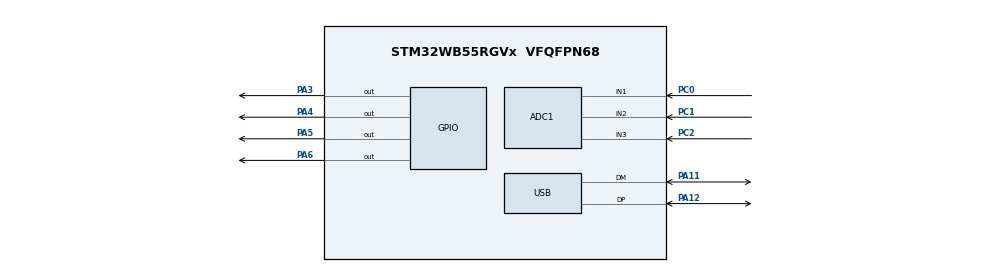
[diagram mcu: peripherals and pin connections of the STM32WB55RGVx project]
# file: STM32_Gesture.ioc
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ADC1.Channel-6\#ChannelRegularConversion=ADC_CHANNEL_1
ADC1.Channel-7\#ChannelRegularConversion=ADC_CHANNEL_2
ADC1.Channel-8\#ChannelRegularConversion=ADC_CHANNEL_3
ADC1.ContinuousConvMode=DISABLE
ADC1.DMAContinuousRequests=ENABLE
ADC1.DiscontinuousConvMode=DISABLE
ADC1.EOCSelection=ADC_EOC_SEQ_CONV
ADC1.EnableRegularConversion=ENABLE
ADC1.ExternalTrigConv=ADC_EXTERNALTRIG_T1_CC1
ADC1.LowPowerAutoWait=DISABLE
ADC1.NbrOfConversion=3
ADC1.NbrOfConversionFlag=1
ADC1.OffsetNumber-6\#ChannelRegularConversion=ADC_OFFSET_NONE
ADC1.OffsetNumber-7\#ChannelRegularConversion=ADC_OFFSET_NONE
ADC1.OffsetNumber-8\#ChannelRegularConversion=ADC_OFFSET_NONE
ADC1.Overrun=ADC_OVR_DATA_OVERWRITTEN
ADC1.Rank-6\#ChannelRegularConversion=1
ADC1.Rank-7\#ChannelRegularConversion=2
ADC1.Rank-8\#ChannelRegularConversion=3
ADC1.SamplingTime-6\#ChannelRegularConversion=ADC_SAMPLETIME_247CYCLES_5
ADC1.SamplingTime-7\#ChannelRegularConversion=ADC_SAMPLETIME_247CYCLES_5
ADC1.SamplingTime-8\#ChannelRegularConversion=ADC_SAMPLETIME_247CYCLES_5
ADC1.master=1
Dma.ADC1.0.Direction=DMA_PERIPH_TO_MEMORY
Dma.ADC1.0.EventEnable=DISABLE
Dma.ADC1.0.Instance=DMA1_Channel1
Dma.ADC1.0.MemDataAlignment=DMA_MDATAALIGN_HALFWORD
Dma.ADC1.0.MemInc=DMA_MINC_ENABLE
Dma.ADC1.0.Mode=DMA_CIRCULAR
Dma.ADC1.0.PeriphDataAlignment=DMA_PDATAALIGN_HALFWORD
Dma.ADC1.0.PeriphInc=DMA_PINC_DISABLE
Dma.ADC1.0.Polarity=HAL_DMAMUX_REQ_GEN_RISING
Dma.ADC1.0.Priority=DMA_PRIORITY_LOW
Dma.ADC1.0.RequestNumber=1
Dma.ADC1.0.SignalID=NONE
Dma.ADC1.0.SyncEnable=DISABLE
Dma.ADC1.0.SyncPolarity=HAL_DMAMUX_SYNC_NO_EVENT
Dma.ADC1.0.SyncRequestNumber=1
Dma.ADC1.0.SyncSignalID=NONE
Dma.Request0=ADC1
Mcu.Family=STM32WB
Mcu.Name=STM32WB55RGVx
Mcu.Package=VFQFPN68
NVIC.DMA1_Channel1_IRQn=true\:0\:0\:false\:false\:true\:false\:true\:true
NVIC.HSEM_IRQn=true\:0\:0\:false\:false\:true\:false\:true\:true
NVIC.IPCC_C1_RX_IRQn=true\:0\:0\:false\:false\:true\:true\:true\:true
NVIC.IPCC_C1_TX_IRQn=true\:0\:0\:false\:false\:true\:true\:true\:true
NVIC.PriorityGroup=NVIC_PRIORITYGROUP_4
NVIC.RTC_WKUP_IRQn=true\:0\:0\:false\:false\:true\:true\:true\:true
NVIC.TIM1_TRG_COM_TIM17_IRQn=true\:15\:0\:false\:false\:true\:false\:true\:true
NVIC.TimeBase=TIM1_TRG_COM_TIM17_IRQn
NVIC.TimeBaseIP=TIM17
NVIC.USB_LP_IRQn=true\:0\:0\:false\:false\:true\:false\:true\:true
OSC_IN.Mode=HSE-External-Oscillator
OSC_IN.Signal=RCC_OSC_IN
OSC_OUT.Mode=HSE-External-Oscillator
OSC_OUT.Signal=RCC_OSC_OUT
PA11.Mode=Device
PA11.Signal=USB_DM
PA12.Mode=Device
PA12.Signal=USB_DP
PA13.Mode=Trace_Asynchronous_SW
PA13.Signal=SYS_JTMS-SWDIO
PA14.Mode=Trace_Asynchronous_SW
PA14.Signal=SYS_JTCK-SWCLK
PA3.Signal=GPIO_Output
PA4.Signal=GPIO_Output
PA5.Signal=GPIO_Output
PA6.Signal=GPIO_Output
PB3.Mode=Trace_Asynchronous_SW
PB3.Signal=SYS_JTDO-SWO
PC0.Signal=ADCx_IN1
PC1.Signal=ADCx_IN2
PC14-OSC32_IN.Mode=LSE-External-Oscillator
PC14-OSC32_IN.Signal=RCC_OSC32_IN
PC15-OSC32_OUT.Mode=LSE-External-Oscillator
PC15-OSC32_OUT.Signal=RCC_OSC32_OUT
PC2.Signal=ADCx_IN3
ProjectManager.HeapSize=0x1000
ProjectManager.StackSize=0x1000
ProjectManager.TargetToolchain=STM32CubeIDE
RCC.ADCFreq_Value=48000000
RCC.AHBFreq_Value=32000000
RCC.APB1Freq_Value=32000000
RCC.APB1TimFreq_Value=32000000
RCC.APB2Freq_Value=32000000
RCC.APB2TimFreq_Value=32000000
RCC.APB3Freq_Value=16000000
RCC.CortexFreq_Value=32000000
RCC.HCLKFreq_Value=32000000
RCC.HSE_VALUE=32000000
RCC.HSI48_VALUE=48000000
RCC.HSI_VALUE=16000000
RCC.MSIClockRange=RCC_MSIRANGE_10
RCC.PLLM=RCC_PLLM_DIV2
RCC.PLLSAI1N=6
RCC.RFWKPClockSelection=RCC_RFWKPCLKSOURCE_LSE
RCC.SYSCLKFreq_VALUE=32000000
RCC.USBFreq_Value=48000000
RCC.VCOOutputFreq_Value=128000000
RF1.Mode=RF1_Activate
RF1.Signal=RF_RF1
SH.ADCx_IN1.0=ADC1_IN1,IN1-Single-Ended
SH.ADCx_IN2.0=ADC1_IN2,IN2-Single-Ended
SH.ADCx_IN3.0=ADC1_IN3,IN3-Single-Ended
STM32_WPAN.AD_TYPE_COMPLETE_LOCAL_NAME=STMGESTURE
STM32_WPAN.AD_TYPE_COMPLETE_LOCAL_NAME_LENGTH=11
STM32_WPAN.BT_SIG_HEART_RATE_SENSOR=Disabled
STM32_WPAN.CFG_GAP_DEVICE_NAME=STMGESTURE
STM32_WPAN.CFG_GAP_DEVICE_NAME_LENGTH=10
STM32_WPAN.CFG_IO_CAPABILITY=\ CFG_IO_CAPABILITY_NO_INPUT_NO_OUTPUT
STM32_WPAN.CFG_LSCLK_LSE=0
STM32_WPAN.CFG_TX_POWER=(0x1D) /* 4dBm */
STM32_WPAN.CFG_USE_SMPS=1
STM32_WPAN.CUSTOM_P2P_SERVER=Disabled
STM32_WPAN.CUSTOM_TEMPLATE=Enabled
STM32_WPAN.GAP_PERIPHERAL_ROLE=1
STM32_WPAN.INCLUDE_AD_TYPE_COMPLETE_LOCAL_NAME=1
STM32_WPAN.NUMBER_OF_SERVICES=1
STM32_WPAN.SERVICE1_CHAR1_LONG_NAME=CurrentGesture
STM32_WPAN.SERVICE1_CHAR1_PROP_NOTIFY=CHAR_PROP_NOTIFY
STM32_WPAN.SERVICE1_CHAR1_SHORT_NAME=GST
STM32_WPAN.SERVICE1_CHAR1_VALUE_LENGTH=2
STM32_WPAN.SERVICE1_CHAR2_LONG_NAME=Battery
STM32_WPAN.SERVICE1_CHAR2_PROP_READ=CHAR_PROP_READ
STM32_WPAN.SERVICE1_CHAR2_SHORT_NAME=BAT
STM32_WPAN.SERVICE1_CHAR2_VALUE_LENGTH=2
STM32_WPAN.SERVICE1_LONG_NAME=GestureAndBatteryService
STM32_WPAN.SERVICE1_NUMBER_OF_CHARACTERISTICS=2
STM32_WPAN.SERVICE1_SHORT_NAME=SRVC1
TIM1.AutoReloadPreload=TIM_AUTORELOAD_PRELOAD_ENABLE
TIM1.Channel-PWM\ Generation1\ No\ Output=TIM_CHANNEL_1
TIM1.Period=499
TIM1.Prescaler=31
TIM1.Pulse-PWM\ Generation1\ No\ Output=250
USB_DEVICE.CLASS_NAME_FS=CDC
USB_DEVICE.VirtualMode=Cdc
USB_DEVICE.VirtualModeFS=Cdc_FS
VP_HSEM_VS_HSEM.Mode=HSEM_Activate
VP_IPCC_VS_IPCC.Mode=IPCC_Activate
VP_MEMORYMAP_VS_MEMORYMAP.Mode=CurAppReg
VP_RTC_VS_RTC_Activate.Mode=RTC_Enabled
VP_RTC_VS_RTC_WakeUp_intern.Mode=WakeUp
VP_SEQUENCER_VS_SEQUENCER.Mode=SEQUENCER_Enabled
VP_STM32_WPAN_VS_BLE_HOST.Mode=STM32_WPAN_Enabled
VP_SYS_VS_tim17.Mode=TIM17
VP_TIM1_VS_ClockSourceINT.Mode=Internal
VP_TIM1_VS_no_output1.Mode=PWM Generation1 No Output
VP_TINY_LPM_VS_TINY_LPM.Mode=TINY_LPM_Enabled
VP_USB_DEVICE_VS_USB_DEVICE_CDC_FS.Mode=CDC_FS
board=custom

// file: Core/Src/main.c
/* USER CODE BEGIN Header */
/**
  ******************************************************************************
  * @file           : main.c
  * @brief          : Main program body for EMG Gesture Recognition & BLE Node
  ******************************************************************************
  * @attention
  *
  * Copyright (c) 2026 STMicroelectronics.
  * All rights reserved.
  *
  * This software is licensed under terms that can be found in the LICENSE file
  * in the root directory of this software component.
  * If no LICENSE file comes with this software, it is provided AS-IS.
  *
  ******************************************************************************
  */
/* USER CODE END Header */

#include "main.h"
#include "usb_device.h"
#include "FreeRTOS.h"
#include "task.h"
#include "queue.h"
#include <stdio.h>

/* USER CODE BEGIN PTD */

typedef struct {
    uint16_t Electrode1_Power;
    uint16_t Electrode2_Power;
    uint16_t Battery;
} Data_t;

/* USER CODE END PTD */

/* USER CODE BEGIN PD */

#define THRESHOLD            250
#define IDLE                 30
#define DOUBLE_FLEXTIMEOUT   400
#define RMS_WINDOW           200
#define BUFFER_SIZE          120

/* USER CODE END PD */

ADC_HandleTypeDef hadc1;

DMA_HandleTypeDef hdma_adc1;

IPCC_HandleTypeDef hipcc;

RTC_HandleTypeDef hrtc;

TIM_HandleTypeDef htim1;

/* USER CODE BEGIN PV */

Data_t data;
uint16_t adc_buffer[BUFFER_SIZE];
TaskHandle_t SignalTaskHandle;
TaskHandle_t GestureHandle;

/* USER CODE END PV */

void SystemClock_Config(void);
void PeriphCommonClock_Config(void);
static void MX_GPIO_Init(void);
static void MX_DMA_Init(void);
static void MX_ADC1_Init(void);
static void MX_IPCC_Init(void);
static void MX_RTC_Init(void);
static void MX_TIM1_Init(void);
static void MX_RF_Init(void);
/* USER CODE BEGIN PFP */

void vSignalTask(void *pvParameters);
void vGestureTask(void *pvParameters);

extern void Send_Gesture_To_BLE(uint8_t gesture);
extern void Send_Battery_To_BLE(uint8_t battery_level);

/* USER CODE END PFP */

/* USER CODE BEGIN 0 */

// =========================================================================
// DMA INTERRUPT CALLBACK
// =========================================================================

void HAL_ADC_ConvCpltCallback(ADC_HandleTypeDef* hadc) {
    BaseType_t xHigherPriorityTaskWoken = pdFALSE;
    vTaskNotifyGiveFromISR(SignalTaskHandle, &xHigherPriorityTaskWoken);
    portYIELD_FROM_ISR(xHigherPriorityTaskWoken);
}

/* USER CODE END 0 */

int main(void)
{

  /* MCU Configuration--------------------------------------------------------*/

  HAL_Init();
  MX_APPE_Config();

  /* Configure the system clock */
  SystemClock_Config();

  /* Configure the peripherals common clocks */
  PeriphCommonClock_Config();

  /* IPCC initialisation */
  MX_IPCC_Init();

  /* Initialize all configured peripherals */
  MX_GPIO_Init();
  MX_DMA_Init();
  MX_ADC1_Init();
  MX_RTC_Init();
  MX_TIM1_Init();
  MX_USB_Device_Init();
  MX_RF_Init();

  /* USER CODE BEGIN 2 */

  HAL_ADC_Start_DMA(&hadc1, (uint32_t*)adc_buffer, BUFFER_SIZE);
  xTaskCreate(vSignalTask, "SignalTask", 256, NULL, 3, &SignalTaskHandle);
  xTaskCreate(vGestureTask, "GestureTask", 256, NULL, 2, &GestureHandle);

  vTaskStartScheduler();

  /* USER CODE END 2 */

  /* Init code for STM32_WPAN */
  MX_APPE_Init();

  /* Infinite loop */
  while (1)
  {
    MX_APPE_Process();

  }
}

void SystemClock_Config(void)
{
  RCC_OscInitTypeDef RCC_OscInitStruct = {0};
  RCC_ClkInitTypeDef RCC_ClkInitStruct = {0};

  /** Macro to configure the PLL multiplication factor
  */
  __HAL_RCC_PLL_PLLM_CONFIG(RCC_PLLM_DIV2);

  /** Macro to configure the PLL clock source
  */
  __HAL_RCC_PLL_PLLSOURCE_CONFIG(RCC_PLLSOURCE_MSI);

  /** Configure LSE Drive Capability
  */
  HAL_PWR_EnableBkUpAccess();
  __HAL_RCC_LSEDRIVE_CONFIG(RCC_LSEDRIVE_MEDIUMHIGH);

  /** Configure the main internal regulator output voltage
  */
  __HAL_PWR_VOLTAGESCALING_CONFIG(PWR_REGULATOR_VOLTAGE_SCALE1);

  /** Initializes the RCC Oscillators according to the specified parameters
  * in the RCC_OscInitTypeDef structure.
  */
  RCC_OscInitStruct.OscillatorType = RCC_OSCILLATORTYPE_HSI|RCC_OSCILLATORTYPE_LSI1
                              |RCC_OSCILLATORTYPE_HSE|RCC_OSCILLATORTYPE_LSE
                              |RCC_OSCILLATORTYPE_MSI;
  RCC_OscInitStruct.HSEState = RCC_HSE_ON;
  RCC_OscInitStruct.LSEState = RCC_LSE_ON;
  RCC_OscInitStruct.HSIState = RCC_HSI_ON;
  RCC_OscInitStruct.MSIState = RCC_MSI_ON;
  RCC_OscInitStruct.HSICalibrationValue = RCC_HSICALIBRATION_DEFAULT;
  RCC_OscInitStruct.MSICalibrationValue = RCC_MSICALIBRATION_DEFAULT;
  RCC_OscInitStruct.MSIClockRange = RCC_MSIRANGE_10;
  RCC_OscInitStruct.LSIState = RCC_LSI_ON;
  RCC_OscInitStruct.PLL.PLLState = RCC_PLL_NONE;
  if (HAL_RCC_OscConfig(&RCC_OscInitStruct) != HAL_OK)
  {
    Error_Handler();
  }

  /** Configure the SYSCLKSource, HCLK, PCLK1 and PCLK2 clocks dividers
  */
  RCC_ClkInitStruct.ClockType = RCC_CLOCKTYPE_HCLK4|RCC_CLOCKTYPE_HCLK2
                              |RCC_CLOCKTYPE_HCLK|RCC_CLOCKTYPE_SYSCLK
                              |RCC_CLOCKTYPE_PCLK1|RCC_CLOCKTYPE_PCLK2;
  RCC_ClkInitStruct.SYSCLKSource = RCC_SYSCLKSOURCE_MSI;
  RCC_ClkInitStruct.AHBCLKDivider = RCC_SYSCLK_DIV1;
  RCC_ClkInitStruct.APB1CLKDivider = RCC_HCLK_DIV1;
  RCC_ClkInitStruct.APB2CLKDivider = RCC_HCLK_DIV1;
  RCC_ClkInitStruct.AHBCLK2Divider = RCC_SYSCLK_DIV1;
  RCC_ClkInitStruct.AHBCLK4Divider = RCC_SYSCLK_DIV1;

  if (HAL_RCC_ClockConfig(&RCC_ClkInitStruct, FLASH_LATENCY_1) != HAL_OK)
  {
    Error_Handler();
  }

  /** Enable MSI Auto calibration
  */
  HAL_RCCEx_EnableMSIPLLMode();
}

void PeriphCommonClock_Config(void)
{
  RCC_PeriphCLKInitTypeDef PeriphClkInitStruct = {0};

  /** Initializes the peripherals clock
  */
  PeriphClkInitStruct.PeriphClockSelection = RCC_PERIPHCLK_SMPS|RCC_PERIPHCLK_RFWAKEUP
                              |RCC_PERIPHCLK_USB|RCC_PERIPHCLK_ADC;
  PeriphClkInitStruct.PLLSAI1.PLLN = 6;
  PeriphClkInitStruct.PLLSAI1.PLLP = RCC_PLLP_DIV2;
  PeriphClkInitStruct.PLLSAI1.PLLQ = RCC_PLLQ_DIV2;
  PeriphClkInitStruct.PLLSAI1.PLLR = RCC_PLLR_DIV2;
  PeriphClkInitStruct.PLLSAI1.PLLSAI1ClockOut = RCC_PLLSAI1_USBCLK|RCC_PLLSAI1_ADCCLK;
  PeriphClkInitStruct.UsbClockSelection = RCC_USBCLKSOURCE_PLLSAI1;
  PeriphClkInitStruct.AdcClockSelection = RCC_ADCCLKSOURCE_PLLSAI1;
  PeriphClkInitStruct.RFWakeUpClockSelection = RCC_RFWKPCLKSOURCE_LSE;
  PeriphClkInitStruct.SmpsClockSelection = RCC_SMPSCLKSOURCE_HSI;
  PeriphClkInitStruct.SmpsDivSelection = RCC_SMPSCLKDIV_RANGE1;

  if (HAL_RCCEx_PeriphCLKConfig(&PeriphClkInitStruct) != HAL_OK)
  {
    Error_Handler();
  }
}

static void MX_ADC1_Init(void)
{
  ADC_ChannelConfTypeDef sConfig = {0};

  hadc1.Instance = ADC1;
  hadc1.Init.ClockPrescaler = ADC_CLOCK_ASYNC_DIV1;
  hadc1.Init.Resolution = ADC_RESOLUTION_12B;
  hadc1.Init.DataAlign = ADC_DATAALIGN_RIGHT;
  hadc1.Init.ScanConvMode = ADC_SCAN_ENABLE;
  hadc1.Init.EOCSelection = ADC_EOC_SEQ_CONV;
  hadc1.Init.LowPowerAutoWait = DISABLE;
  hadc1.Init.ContinuousConvMode = DISABLE;
  hadc1.Init.NbrOfConversion = 3;
  hadc1.Init.DiscontinuousConvMode = DISABLE;
  hadc1.Init.ExternalTrigConv = ADC_EXTERNALTRIG_T1_CC1;
  hadc1.Init.ExternalTrigConvEdge = ADC_EXTERNALTRIGCONVEDGE_RISING;
  hadc1.Init.DMAContinuousRequests = ENABLE;
  hadc1.Init.Overrun = ADC_OVR_DATA_OVERWRITTEN;
  hadc1.Init.OversamplingMode = DISABLE;
  if (HAL_ADC_Init(&hadc1) != HAL_OK)
  {
    Error_Handler();
  }

  sConfig.Channel = ADC_CHANNEL_1;
  sConfig.Rank = ADC_REGULAR_RANK_1;
  sConfig.SamplingTime = ADC_SAMPLETIME_247CYCLES_5;
  sConfig.SingleDiff = ADC_SINGLE_ENDED;
  sConfig.OffsetNumber = ADC_OFFSET_NONE;
  sConfig.Offset = 0;
  if (HAL_ADC_ConfigChannel(&hadc1, &sConfig) != HAL_OK)
  {
    Error_Handler();
  }

  sConfig.Channel = ADC_CHANNEL_2;
  sConfig.Rank = ADC_REGULAR_RANK_2;
  if (HAL_ADC_ConfigChannel(&hadc1, &sConfig) != HAL_OK)
  {
    Error_Handler();
  }

  sConfig.Channel = ADC_CHANNEL_3;
  sConfig.Rank = ADC_REGULAR_RANK_3;
  if (HAL_ADC_ConfigChannel(&hadc1, &sConfig) != HAL_OK)
  {
    Error_Handler();
  }
}

static void MX_IPCC_Init(void)
{
  hipcc.Instance = IPCC;
  if (HAL_IPCC_Init(&hipcc) != HAL_OK)
  {
    Error_Handler();
  }
}

static void MX_RF_Init(void)
{
}

static void MX_RTC_Init(void)
{
  hrtc.Instance = RTC;
  hrtc.Init.HourFormat = RTC_HOURFORMAT_24;
  hrtc.Init.AsynchPrediv = CFG_RTC_ASYNCH_PRESCALER;
  hrtc.Init.SynchPrediv = CFG_RTC_SYNCH_PRESCALER;
  hrtc.Init.OutPut = RTC_OUTPUT_DISABLE;
  hrtc.Init.OutPutPolarity = RTC_OUTPUT_POLARITY_HIGH;
  hrtc.Init.OutPutType = RTC_OUTPUT_TYPE_OPENDRAIN;
  hrtc.Init.OutPutRemap = RTC_OUTPUT_REMAP_NONE;
  if (HAL_RTC_Init(&hrtc) != HAL_OK)
  {
    Error_Handler();
  }

  if (HAL_RTCEx_SetWakeUpTimer_IT(&hrtc, 0, RTC_WAKEUPCLOCK_RTCCLK_DIV16) != HAL_OK)
  {
    Error_Handler();
  }
}

static void MX_TIM1_Init(void)
{
  TIM_ClockConfigTypeDef sClockSourceConfig = {0};
  TIM_MasterConfigTypeDef sMasterConfig = {0};
  TIM_OC_InitTypeDef sConfigOC = {0};
  TIM_BreakDeadTimeConfigTypeDef sBreakDeadTimeConfig = {0};

  htim1.Instance = TIM1;
  htim1.Init.Prescaler = 31;
  htim1.Init.CounterMode = TIM_COUNTERMODE_UP;
  htim1.Init.Period = 499;
  htim1.Init.ClockDivision = TIM_CLOCKDIVISION_DIV1;
  htim1.Init.RepetitionCounter = 0;
  htim1.Init.AutoReloadPreload = TIM_AUTORELOAD_PRELOAD_ENABLE;
  if (HAL_TIM_Base_Init(&htim1) != HAL_OK)
  {
    Error_Handler();
  }
  sClockSourceConfig.ClockSource = TIM_CLOCKSOURCE_INTERNAL;
  if (HAL_TIM_ConfigClockSource(&htim1, &sClockSourceConfig) != HAL_OK)
  {
    Error_Handler();
  }
  if (HAL_TIM_PWM_Init(&htim1) != HAL_OK)
  {
    Error_Handler();
  }
  sMasterConfig.MasterOutputTrigger = TIM_TRGO_RESET;
  sMasterConfig.MasterOutputTrigger2 = TIM_TRGO2_RESET;
  sMasterConfig.MasterSlaveMode = TIM_MASTERSLAVEMODE_DISABLE;
  if (HAL_TIMEx_MasterConfigSynchronization(&htim1, &sMasterConfig) != HAL_OK)
  {
    Error_Handler();
  }
  sConfigOC.OCMode = TIM_OCMODE_PWM1;
  sConfigOC.Pulse = 250;
  sConfigOC.OCPolarity = TIM_OCPOLARITY_HIGH;
  sConfigOC.OCNPolarity = TIM_OCNPOLARITY_HIGH;
  sConfigOC.OCFastMode = TIM_OCFAST_DISABLE;
  sConfigOC.OCIdleState = TIM_OCIDLESTATE_RESET;
  sConfigOC.OCNIdleState = TIM_OCNIDLESTATE_RESET;
  if (HAL_TIM_PWM_ConfigChannel(&htim1, &sConfigOC, TIM_CHANNEL_1) != HAL_OK)
  {
    Error_Handler();
  }
  sBreakDeadTimeConfig.OffStateRunMode = TIM_OSSR_DISABLE;
  sBreakDeadTimeConfig.OffStateIDLEMode = TIM_OSSI_DISABLE;
  sBreakDeadTimeConfig.LockLevel = TIM_LOCKLEVEL_OFF;
  sBreakDeadTimeConfig.DeadTime = 0;
  sBreakDeadTimeConfig.BreakState = TIM_BREAK_DISABLE;
  sBreakDeadTimeConfig.BreakPolarity = TIM_BREAKPOLARITY_HIGH;
  sBreakDeadTimeConfig.BreakFilter = 0;
  sBreakDeadTimeConfig.BreakAFMode = TIM_BREAK_AFMODE_INPUT;
  sBreakDeadTimeConfig.Break2State = TIM_BREAK2_DISABLE;
  sBreakDeadTimeConfig.Break2Polarity = TIM_BREAK2POLARITY_HIGH;
  sBreakDeadTimeConfig.Break2Filter = 0;
  sBreakDeadTimeConfig.Break2AFMode = TIM_BREAK_AFMODE_INPUT;
  sBreakDeadTimeConfig.AutomaticOutput = TIM_AUTOMATICOUTPUT_DISABLE;
  if (HAL_TIMEx_ConfigBreakDeadTime(&htim1, &sBreakDeadTimeConfig) != HAL_OK)
  {
    Error_Handler();
  }
}

static void MX_DMA_Init(void)
{
  __HAL_RCC_DMAMUX1_CLK_ENABLE();
  __HAL_RCC_DMA1_CLK_ENABLE();

  HAL_NVIC_SetPriority(DMA1_Channel1_IRQn, 0, 0);
  HAL_NVIC_EnableIRQ(DMA1_Channel1_IRQn);
}

static void MX_GPIO_Init(void)
{
  GPIO_InitTypeDef GPIO_InitStruct = {0};

  __HAL_RCC_GPIOC_CLK_ENABLE();
  __HAL_RCC_GPIOA_CLK_ENABLE();
  __HAL_RCC_GPIOB_CLK_ENABLE();

  HAL_GPIO_WritePin(GPIOA, GPIO_PIN_3|GPIO_PIN_4|GPIO_PIN_5|GPIO_PIN_6, GPIO_PIN_RESET);

  GPIO_InitStruct.Pin = GPIO_PIN_3|GPIO_PIN_4|GPIO_PIN_5|GPIO_PIN_6;
  GPIO_InitStruct.Mode = GPIO_MODE_OUTPUT_PP;
  GPIO_InitStruct.Pull = GPIO_NOPULL;
  GPIO_InitStruct.Speed = GPIO_SPEED_FREQ_LOW;
  HAL_GPIO_Init(GPIOA, &GPIO_InitStruct);
}

/* USER CODE BEGIN 4 */

// =========================================================================
// TASK 1: SIGNAL PROCESSING ENGINE
// =========================================================================
void vSignalTask(void *pvParameters) {
    uint8_t previousBattery = 0;
    extern uint8_t BleConnected;

    while(1) {

        ulTaskNotifyTake(pdTRUE, portMAX_DELAY);

        uint32_t total1 = 0;
        uint32_t total2 = 0;

        for(uint16_t i = 0; i < BUFFER_SIZE; i += 3) {
            /* Remove DC Offset (Assuming 12-bit ADC, Vref/2 = 2048) */
            int32_t raw1 = (int32_t)adc_buffer[i] - 2048;
            int32_t raw2 = (int32_t)adc_buffer[i+1] - 2048;

            if(raw1 < 0) { raw1 = -raw1; }
            if(raw2 < 0) { raw2 = -raw2; }

            total1 += raw1;
            total2 += raw2;
        }

        /* Calculate average power over the window */
        data.Electrode1_Power = (uint16_t)(total1 / 40);
        data.Electrode2_Power = (uint16_t)(total2 / 40);

        /* Battery Level Calculation via Voltage Divider Formula */
        uint16_t raw_battery = adc_buffer[2];
        float v_battery = raw_battery * 0.0025204f;
        int8_t battery_percentage = (int8_t)((v_battery - 6.4f) * 50.0f);

        /* Clamp percentage between 0 and 100 */
        if (battery_percentage > 100) battery_percentage = 100;
        if (battery_percentage < 0)   battery_percentage = 0;

        uint8_t currentBattery = (uint8_t)battery_percentage;
        data.Battery = currentBattery;

        /*Only send if battery level changes */
        if (BleConnected == 1 && currentBattery != previousBattery) {
            Send_Battery_To_BLE(currentBattery);
            previousBattery = currentBattery;
        }
    }
}

// =========================================================================
// TASK 2: GESTURE DECISION & BLE COMMUNICATION
// =========================================================================
void vGestureTask(void *pvParameters) {
    uint32_t lastFistReleaseTime = 0;
    uint8_t currentGesture = 0;
    uint8_t previousGesture = 0;

    extern uint8_t BleConnected;

    while(1) {
        uint16_t power1 = data.Electrode1_Power;
        uint16_t power2 = data.Electrode2_Power;
        uint32_t current_tick = xTaskGetTickCount();

        // --- 1. GESTURE: WRIST IN ---
        if (power1 > THRESHOLD && power2 < IDLE) {
            HAL_GPIO_WritePin(GPIOA, GPIO_PIN_3, GPIO_PIN_SET);
            HAL_GPIO_WritePin(GPIOA, GPIO_PIN_4, GPIO_PIN_RESET);
            HAL_GPIO_WritePin(GPIOA, GPIO_PIN_5, GPIO_PIN_RESET);
            HAL_GPIO_WritePin(GPIOA, GPIO_PIN_6, GPIO_PIN_RESET);
            currentGesture = 1;
        }
        // --- 2. GESTURE: WRIST OUT ---
        else if (power1 < IDLE && power2 > THRESHOLD) {
            HAL_GPIO_WritePin(GPIOA, GPIO_PIN_3, GPIO_PIN_RESET);
            HAL_GPIO_WritePin(GPIOA, GPIO_PIN_4, GPIO_PIN_SET);
            HAL_GPIO_WritePin(GPIOA, GPIO_PIN_5, GPIO_PIN_RESET);
            HAL_GPIO_WritePin(GPIOA, GPIO_PIN_6, GPIO_PIN_RESET);
            currentGesture = 2;
        }
        // --- 3 & 4. GESTURE: SINGLE FIST / DOUBLE FIST ---
        else if (power1 > THRESHOLD && power2 > THRESHOLD) {

            if (currentGesture != 3 && currentGesture != 4) {
                if ((current_tick - lastFistReleaseTime) <= pdMS_TO_TICKS(DOUBLE_FLEXTIMEOUT)) {
                    currentGesture = 4; // Double Fist registered
                } else {
                    currentGesture = 3; // Single Fist registered
                }
            }

            HAL_GPIO_WritePin(GPIOA, GPIO_PIN_3, GPIO_PIN_RESET);
            HAL_GPIO_WritePin(GPIOA, GPIO_PIN_4, GPIO_PIN_RESET);

            /* Update status LEDs */
            if (currentGesture == 3) {
                HAL_GPIO_WritePin(GPIOA, GPIO_PIN_5, GPIO_PIN_SET);
                HAL_GPIO_WritePin(GPIOA, GPIO_PIN_6, GPIO_PIN_RESET);
            } else if (currentGesture == 4) {
                HAL_GPIO_WritePin(GPIOA, GPIO_PIN_5, GPIO_PIN_RESET);
                HAL_GPIO_WritePin(GPIOA, GPIO_PIN_6, GPIO_PIN_SET);
            }
        }
        // --- 0. GESTURE: IDLE  ---
        else if (power1 < IDLE && power2 < IDLE) {

            if (currentGesture == 3 || currentGesture == 4) {
                lastFistReleaseTime = current_tick;
            }

            /* Clear all LEDs */
            HAL_GPIO_WritePin(GPIOA, GPIO_PIN_3, GPIO_PIN_RESET);
            HAL_GPIO_WritePin(GPIOA, GPIO_PIN_4, GPIO_PIN_RESET);
            HAL_GPIO_WritePin(GPIOA, GPIO_PIN_5, GPIO_PIN_RESET);
            HAL_GPIO_WritePin(GPIOA, GPIO_PIN_6, GPIO_PIN_RESET);
            currentGesture = 0;
        }

        /*Only send when the gesture changes */
        if (BleConnected == 1 && currentGesture != previousGesture) {
            Send_Gesture_To_BLE(currentGesture);
            previousGesture = currentGesture;
        }

        vTaskDelay(pdMS_TO_TICKS(10));
    }
}

/* USER CODE END 4 */

void HAL_TIM_PeriodElapsedCallback(TIM_HandleTypeDef *htim)
{
  if (htim->Instance == TIM17)
  {
    HAL_IncTick();
  }
}

void Error_Handler(void)
{
  __disable_irq();
  while (1)
  {
  }
}
